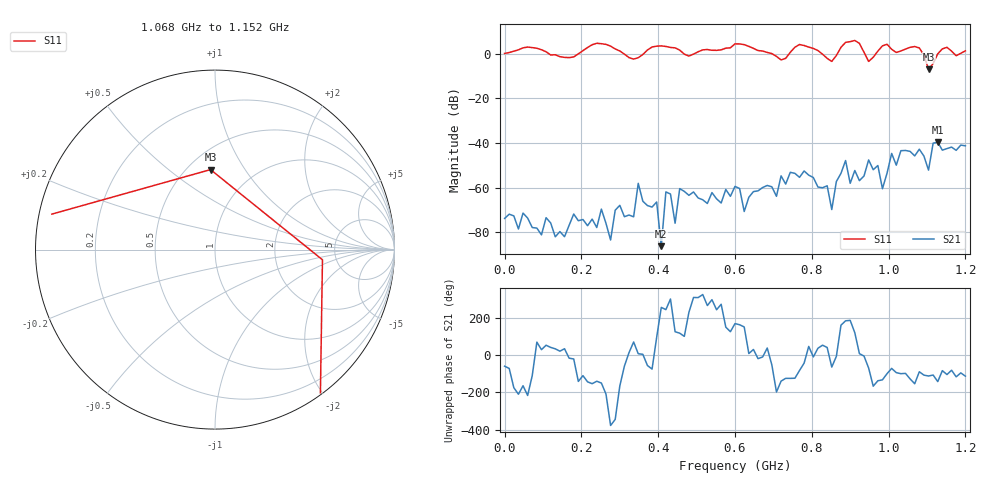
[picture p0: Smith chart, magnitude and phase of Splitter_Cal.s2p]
# HZ S RI R 50
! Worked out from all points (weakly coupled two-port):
!   101 points, 50 kHz to 1.2 GHz, reference 50 ohm
!   highest |S21| = -39.65 dB at 1.128 GHz (marker M1); lowest = -86.2 dB at 408 MHz (marker M2)
!   lowest |S11| = -7.0 dB at 1.104 GHz (marker M3), VSWR 2.61, Z = 32.1 + j35.7 ohm
!   |S11| at or under -10 dB: nowhere
!   S12 and S22 are empty: the file has one direction only
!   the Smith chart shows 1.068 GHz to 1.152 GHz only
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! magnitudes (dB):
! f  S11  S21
! 50 kHz  0.1  -73.8
! 204 MHz  1.4  -74.3
! 276 MHz  3.4  -83.4
! 300 MHz  1.2  -67.9
! 336 MHz  -2.4  -73.1
! 348 MHz  -1.8  -58.1
! 396 MHz  3.4  -66.4
! 408 MHz  3.5  -86.2
! 420 MHz  3.2  -61.9
! 444 MHz  2.6  -75.9
! 456 MHz  1.6  -60.4
! 600 MHz  4.4  -59.4
! 624 MHz  4.1  -70.7
! 804 MHz  2.4  -55.5
! 852 MHz  -3.5  -69.8
! 888 MHz  5.1  -47.9
! 972 MHz  1.2  -50.1
! 984 MHz  3.5  -60.5
! 1.008 GHz  2.0  -44.7
! 1.104 GHz  -7.0  -52.1
! 1.128 GHz  -0.1  -39.7
! 1.2 GHz  1.3  -41.3
